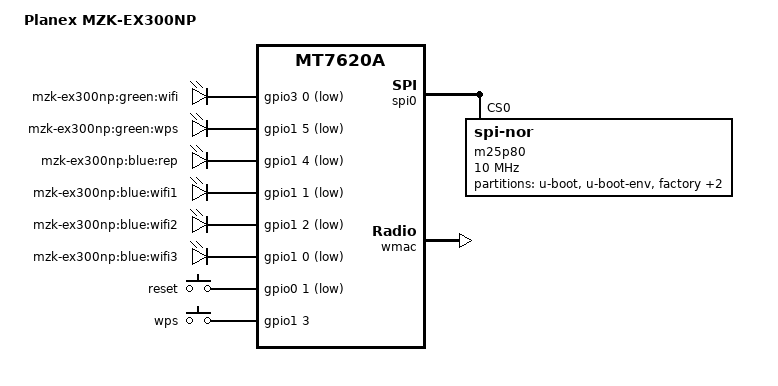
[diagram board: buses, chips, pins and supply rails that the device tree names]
/dts-v1/;

#include "mt7620a.dtsi"

/ {
	compatible = "ralink,mt7620a-soc";
	model = "Planex MZK-EX300NP";

	gpio-leds {
		compatible = "gpio-leds";

		wifi {
			label = "mzk-ex300np:green:wifi";
			gpios = <&gpio3 0 1>;
		};

		wps {
			label = "mzk-ex300np:green:wps";
			gpios = <&gpio1 5 1>;
		};

		rep {
			label = "mzk-ex300np:blue:rep";
			gpios = <&gpio1 4 1>;
		};

		wifi1 {
			label = "mzk-ex300np:blue:wifi1";
			gpios = <&gpio1 1 1>;
		};

		wifi2 {
			label = "mzk-ex300np:blue:wifi2";
			gpios = <&gpio1 2 1>;
		};

		wifi3 {
			label = "mzk-ex300np:blue:wifi3";
			gpios = <&gpio1 0 1>;
		};
	};

	gpio-keys-polled {
		compatible = "gpio-keys-polled";
		#address-cells = <1>;
		#size-cells = <0>;
		poll-interval = <20>;

		reset {
			label = "reset";
			gpios = <&gpio0 1 1>;
			linux,code = <0x198>;
		};

		wps {
			label = "wps";
			gpios = <&gpio1 3 0>;
			linux,code = <0x211>;
		};
	};
};

&gpio1 {
	status = "okay";
};

&gpio3 {
	status = "okay";
};

&spi0 {
	status = "okay";

	m25p80@0 {
		#address-cells = <1>;
		#size-cells = <1>;
		compatible = "jedec,spi-nor";
		reg = <0>;
		linux,modalias = "m25p80", "w25q64";
		spi-max-frequency = <10000000>;

		partition@0 {
			label = "u-boot";
			reg = <0x0 0x30000>;
			read-only;
		};

		partition@30000 {
			label = "u-boot-env";
			reg = <0x30000 0x10000>;
			read-only;
		};

		factory: partition@40000 {
			label = "factory";
			reg = <0x40000 0x10000>;
			read-only;
		};

		partition@50000 {
			label = "firmware";
			reg = <0x50000 0x730000>;
		};

		partition@780000 {
			label = "Udata";
			reg = <0x780000 0x80000>;
		};
	};
};

&pinctrl {
	state_default: pinctrl0 {
		gpio {
			ralink,group = "i2c", "spi refclk", "rgmii1", "wled";
			ralink,function = "gpio";
		};
	};
};

&ethernet {
	pinctrl-names = "default";
	pinctrl-0 = <&ephy_pins>;
	mtd-mac-address = <&factory 0x4>;
	mediatek,portmap = "llllw";
};

&wmac {
	ralink,mtd-eeprom = <&factory 0>;
};
